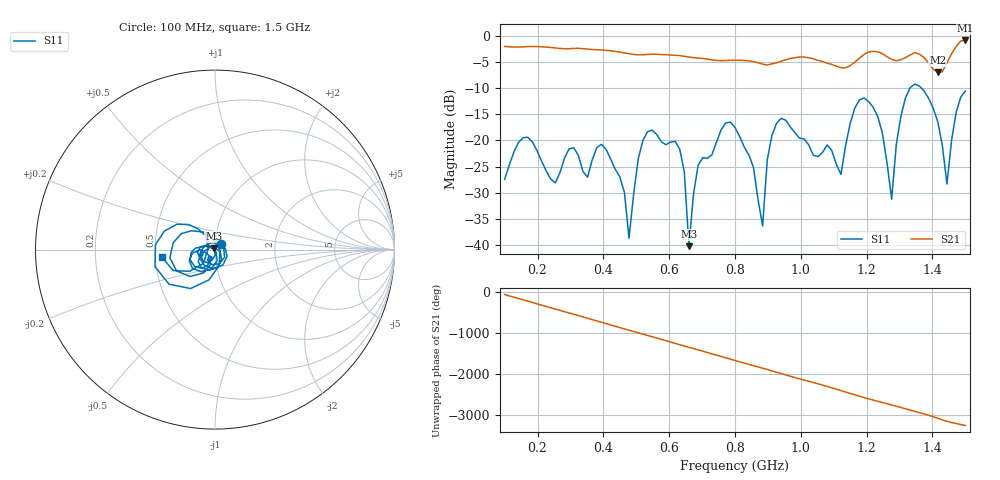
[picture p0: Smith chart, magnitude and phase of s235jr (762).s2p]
! NanoVNA-App
! Date: 2025-09-25 15:10:06
! Start: 100MHz Stop: 1,5GHz Points: 101
! S-Parameter data: F S11 S21 S12 S22
# Hz S RI R 50
!  Frequency  S11_Real  S11_Imag  S21_Real  S21_Imag  S12_Real  S12_Imag  S22_Real  S22_Imag
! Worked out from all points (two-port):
!   101 points, 100 MHz to 1.5 GHz, reference 50 ohm
!   highest |S21| = -0.82 dB at 1.5 GHz (marker M1); lowest = -7.0 dB at 1.416 GHz (marker M2)
!   |S21| within 3 dB of the highest: start of sweep to 642.1 MHz; 1.186 GHz to 1.259 GHz (73.04 MHz wide, 5.98 % of centre) (the widest 2 of 4)
!   lowest |S11| = -40.3 dB at 660 MHz (marker M3), VSWR 1.02, Z = 49.3 + j0.628 ohm
!   |S11| at or under -10 dB: start of sweep to 1.331 GHz; 1.367 GHz to end of sweep
!   S12 and S22 are empty: the file has one direction only
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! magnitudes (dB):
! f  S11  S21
! 100 MHz  -27.5  -2.0
! 170 MHz  -19.4  -2.0
! 338 MHz  -26.0  -2.4
! 408 MHz  -21.7  -2.7
! 478 MHz  -38.7  -3.4
! 520 MHz  -20.0  -3.6
! 576 MHz  -20.2  -3.5
! 632 MHz  -21.7  -3.7
! 660 MHz  -40.3  -4.0
! 688 MHz  -24.8  -4.2
! 800 MHz  -17.5  -4.6
! 884 MHz  -36.4  -5.4
! 926 MHz  -16.8  -5.1
! 1.038 GHz  -22.8  -4.3
! 1.122 GHz  -26.5  -6.0
! 1.192 GHz  -11.8  -3.5
! 1.248 GHz  -18.6  -3.4
! 1.276 GHz  -31.3  -4.5
! 1.332 GHz  -9.9  -3.6
! 1.416 GHz  -16.4  -7.0
! 1.444 GHz  -28.4  -5.1
! 1.5 GHz  -10.5  -0.8
